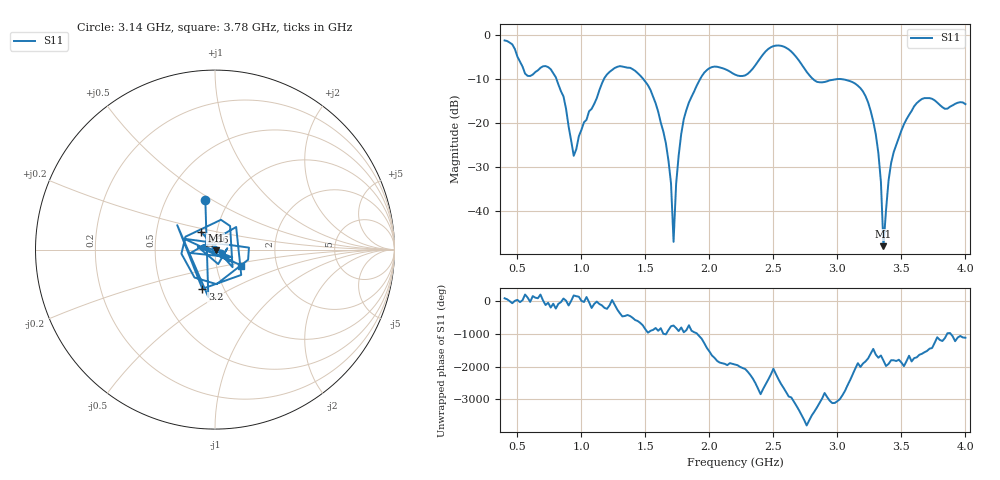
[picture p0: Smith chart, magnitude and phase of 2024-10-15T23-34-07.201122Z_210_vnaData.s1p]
! Created with skrf (http://scikit-rf.org).
# Hz S RI R 50.0
!freq ReS11 ImS11
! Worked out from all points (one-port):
!   181 points, 400 MHz to 4 GHz, reference 50 ohm
!   lowest |S11| = -47.9 dB at 3.36 GHz (marker M1), VSWR 1.01, Z = 50.4 - j0.14 ohm
!   |S11| at or under -10 dB: 805.5 MHz to 1.175 GHz (370 MHz wide, 37.4 % of centre); 1.485 GHz to 1.927 GHz (442.6 MHz wide, 25.9 % of centre); 3.038 GHz to end of sweep (the widest 3 of 4)
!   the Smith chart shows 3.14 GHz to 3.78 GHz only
!   S11 on the Smith chart (normalised r, x): 3.14 GHz: 0.78, +0.47; 3.2 GHz: 0.79, -0.37; 3.56 GHz: 0.84, +0.17; 3.78 GHz: 1.32, -0.24
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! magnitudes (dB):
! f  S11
! 400 MHz  -1.2
! 580 MHz  -9.2
! 760 MHz  -7.7
! 860 MHz  -13.9
! 940 MHz  -27.4
! 1.18 GHz  -9.7
! 1.3 GHz  -7.0
! 1.58 GHz  -15.5
! 1.68 GHz  -28.5
! 1.7 GHz  -33.6
! 1.72 GHz  -46.9
! 1.76 GHz  -27.3
! 1.82 GHz  -17.0
! 1.94 GHz  -9.3
! 2.2 GHz  -8.9
! 2.5 GHz  -2.5
! 2.66 GHz  -4.3
! 2.84 GHz  -10.6
! 3.1 GHz  -10.4
! 3.14 GHz  -11.0
! 3.2 GHz  -12.8
! 3.32 GHz  -26.7
! 3.34 GHz  -33.3
! 3.36 GHz  -47.9
! 3.42 GHz  -29.0
! 3.56 GHz  -18.1
! 3.78 GHz  -15.3
! 4 GHz  -15.7
